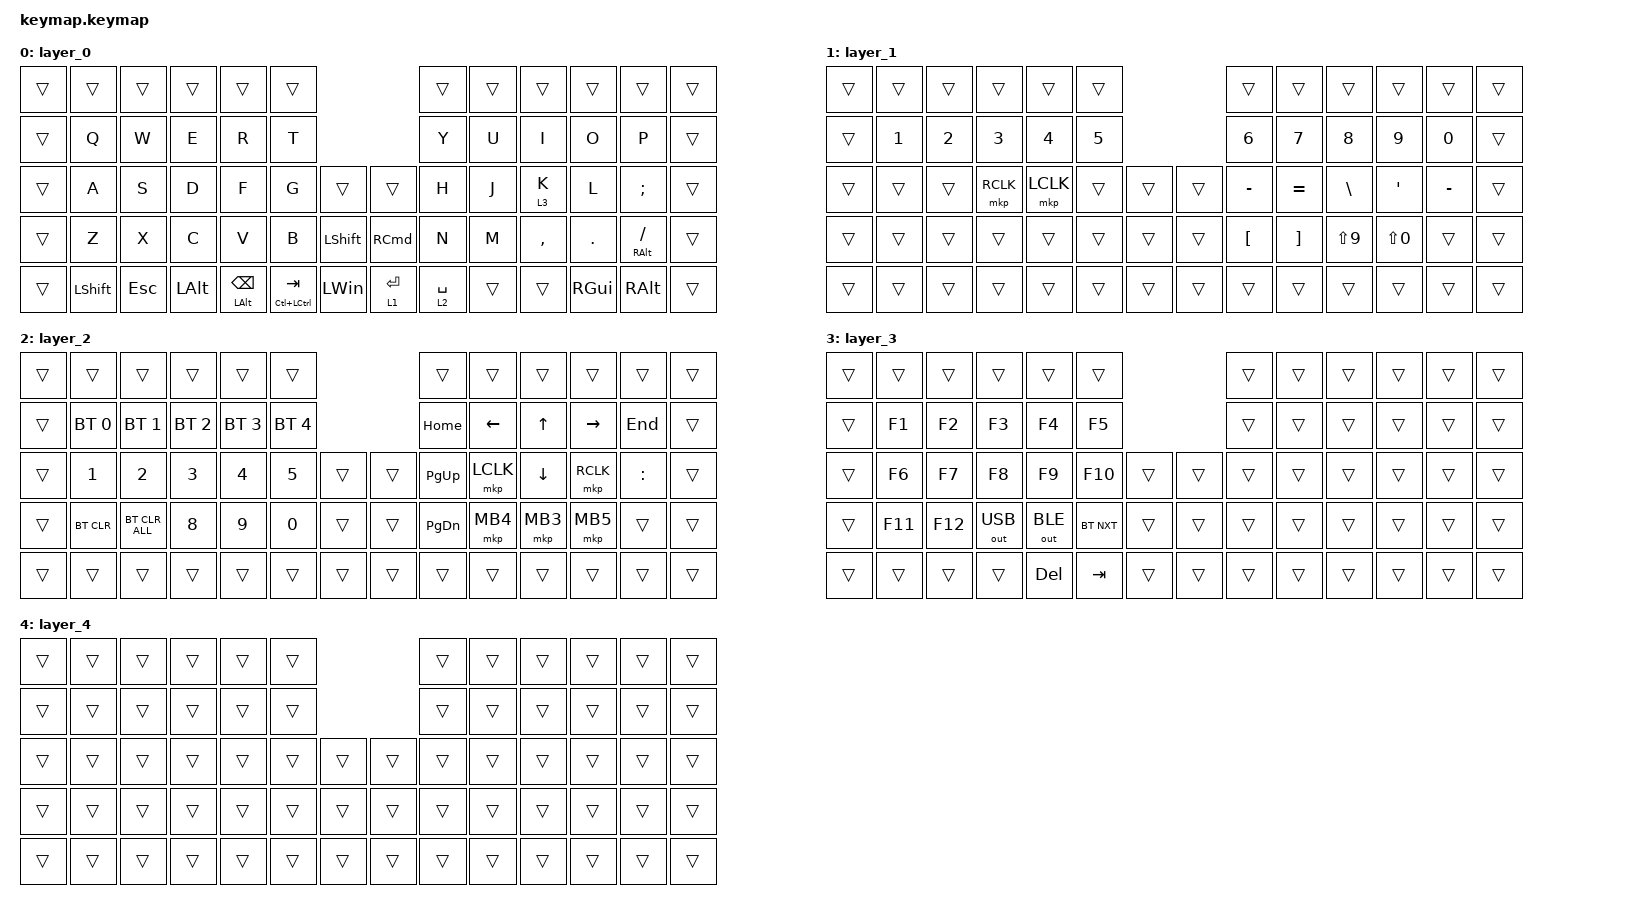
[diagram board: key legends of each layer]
#include <behaviors.dtsi>
#include <dt-bindings/zmk/bt.h>
#include <dt-bindings/zmk/keys.h>
#include <dt-bindings/zmk/outputs.h>
#include <dt-bindings/zmk/pointing.h>

/ {
    combos {
        compatible = "zmk,combos";

        bt_clear {
            bindings = <&bt BT_CLR>;
            key-positions = <28 29>;
            layers = <2>;
        };
    };

    keymap {
        compatible = "zmk,keymap";

        layer_0 {
            bindings = <
&trans  &trans          &trans      &trans    &trans                  &trans                                                       &trans       &trans  &trans     &trans    &trans              &trans
&trans  &kp Q           &kp W       &kp E     &kp R                   &kp T                                                        &kp Y        &kp U   &kp I      &kp O     &kp P               &trans
&trans  &kp A           &kp S       &kp D     &kp F                   &kp G                     &trans          &trans             &kp H        &kp J   &lt 3 K    &kp L     &kp SEMI            &trans
&trans  &kp Z           &kp X       &kp C     &kp V                   &kp B                     &kp LEFT_SHIFT  &kp RIGHT_COMMAND  &kp N        &kp M   &kp COMMA  &kp DOT   &mt RIGHT_ALT FSLH  &trans
&trans  &kp LEFT_SHIFT  &kp ESCAPE  &kp LALT  &mt LEFT_ALT BACKSPACE  &mt LC(LEFT_CONTROL) TAB  &kp LEFT_WIN    &lt 1 ENTER        &lt 2 SPACE  &trans  &trans     &kp RGUI  &kp RIGHT_ALT       &trans
            >;
        };

        layer_1 {
            bindings = <
&trans  &trans        &trans        &trans        &trans        &trans                  &trans            &trans             &trans            &trans      &trans     &trans
&trans  &kp NUMBER_1  &kp NUMBER_2  &kp NUMBER_3  &kp NUMBER_4  &kp N5                  &kp NUMBER_6      &kp N7             &kp N8            &kp N9      &kp N0     &trans
&trans  &trans        &trans        &mkp RCLK     &mkp LCLK     &trans  &trans  &trans  &kp MINUS         &kp EQUAL          &kp BACKSLASH     &kp SQT     &kp MINUS  &trans
&trans  &trans        &trans        &trans        &trans        &trans  &trans  &trans  &kp LEFT_BRACKET  &kp RIGHT_BRACKET  &kp LS(NUMBER_9)  &kp LS(N0)  &trans     &trans
&trans  &trans        &trans        &trans        &trans        &trans  &trans  &trans  &trans            &trans             &trans            &trans      &trans     &trans
            >;
        };

        layer_2 {
            bindings = <
&trans  &trans        &trans          &trans        &trans        &trans                        &trans         &trans     &trans    &trans     &trans     &trans
&trans  &bt BT_SEL 0  &bt BT_SEL 1    &bt BT_SEL 2  &bt BT_SEL 3  &bt BT_SEL 4                  &kp HOME       &kp LEFT   &kp UP    &kp RIGHT  &kp END    &trans
&trans  &kp N1        &kp N2          &kp N3        &kp N4        &kp N5        &trans  &trans  &kp PG_UP      &mkp LCLK  &kp DOWN  &mkp RCLK  &kp COLON  &trans
&trans  &bt BT_CLR    &bt BT_CLR_ALL  &kp N8        &kp N9        &kp N0        &trans  &trans  &kp PAGE_DOWN  &mkp MB4   &mkp MB3  &mkp MB5   &trans     &trans
&trans  &trans        &trans          &trans        &trans        &trans        &trans  &trans  &trans         &trans     &trans    &trans     &trans     &trans
            >;
        };

        layer_3 {
            bindings = <
&trans  &trans   &trans   &trans        &trans        &trans                      &trans  &trans  &trans  &trans  &trans  &trans
&trans  &kp F1   &kp F2   &kp F3        &kp F4        &kp F5                      &trans  &trans  &trans  &trans  &trans  &trans
&trans  &kp F6   &kp F7   &kp F8        &kp F9        &kp F10     &trans  &trans  &trans  &trans  &trans  &trans  &trans  &trans
&trans  &kp F11  &kp F12  &out OUT_USB  &out OUT_BLE  &bt BT_NXT  &trans  &trans  &trans  &trans  &trans  &trans  &trans  &trans
&trans  &trans   &trans   &trans        &kp DELETE    &kp TAB     &trans  &trans  &trans  &trans  &trans  &trans  &trans  &trans
            >;
        };

        layer_4 {
            bindings = <
&trans  &trans  &trans  &trans  &trans  &trans                  &trans  &trans  &trans  &trans  &trans  &trans
&trans  &trans  &trans  &trans  &trans  &trans                  &trans  &trans  &trans  &trans  &trans  &trans
&trans  &trans  &trans  &trans  &trans  &trans  &trans  &trans  &trans  &trans  &trans  &trans  &trans  &trans
&trans  &trans  &trans  &trans  &trans  &trans  &trans  &trans  &trans  &trans  &trans  &trans  &trans  &trans
&trans  &trans  &trans  &trans  &trans  &trans  &trans  &trans  &trans  &trans  &trans  &trans  &trans  &trans
            >;
        };
    };
};
